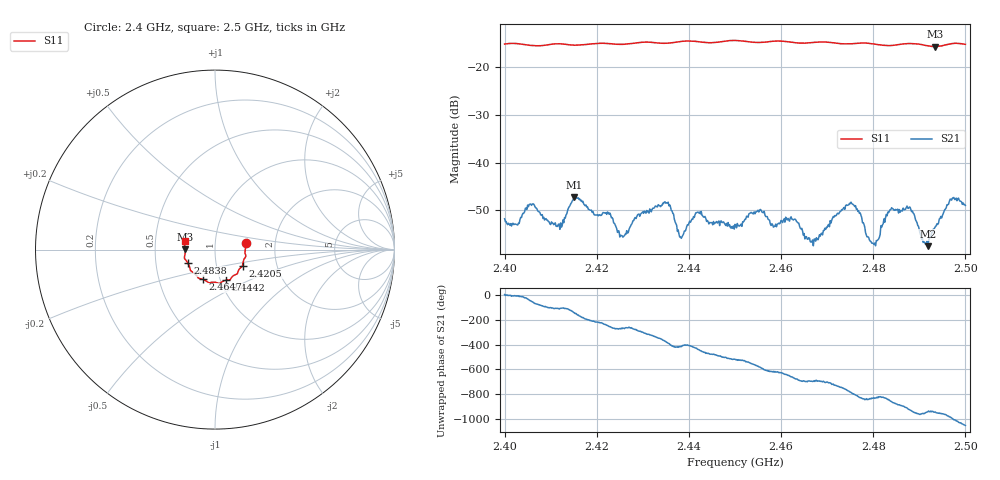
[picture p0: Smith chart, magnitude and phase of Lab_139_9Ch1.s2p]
# Hz S RI R 50
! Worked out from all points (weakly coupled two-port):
!   601 points, 2.4 GHz to 2.5 GHz, reference 50 ohm
!   highest |S21| = -47.25 dB at 2.415 GHz (marker M1); lowest = -57.5 dB at 2.4918 GHz (marker M2)
!   lowest |S11| = -15.7 dB at 2.4935 GHz (marker M3), VSWR 1.39, Z = 35.9 + j0.112 ohm
!   |S11| at or under -10 dB: start of sweep to end of sweep
!   S12 and S22 are empty: the file has one direction only
!   S11 on the Smith chart (normalised r, x): 2.4 GHz: 1.40, +0.11; 2.4205 GHz: 1.34, -0.25; 2.4442 GHz: 1.06, -0.37; 2.4647 GHz: 0.83, -0.29; 2.4838 GHz: 0.73, -0.11; 2.5 GHz: 0.71, +0.07
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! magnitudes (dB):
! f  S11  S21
! 2.4 GHz  -15.2  -51.8
! 2.4058 GHz  -15.5  -48.9
! 2.412 GHz  -15.1  -54.0
! 2.415 GHz  -15.4  -47.3
! 2.4167 GHz  -15.3  -47.9
! 2.4205 GHz  -15.0  -51.0
! 2.4255 GHz  -15.2  -55.3
! 2.4333 GHz  -14.9  -48.8
! 2.4383 GHz  -14.6  -55.8
! 2.4442 GHz  -14.9  -52.4
! 2.45 GHz  -14.4  -52.9
! 2.4553 GHz  -14.8  -50.0
! 2.4647 GHz  -15.0  -54.3
! 2.4667 GHz  -14.9  -56.6
! 2.4752 GHz  -15.1  -48.3
! 2.4802 GHz  -15.1  -57.1
! 2.4833 GHz  -15.5  -50.5
! 2.4838 GHz  -15.5  -49.8
! 2.4878 GHz  -15.0  -49.3
! 2.4918 GHz  -15.5  -57.5
! 2.4935 GHz  -15.7  -53.4
! 2.5 GHz  -15.2  -49.0
